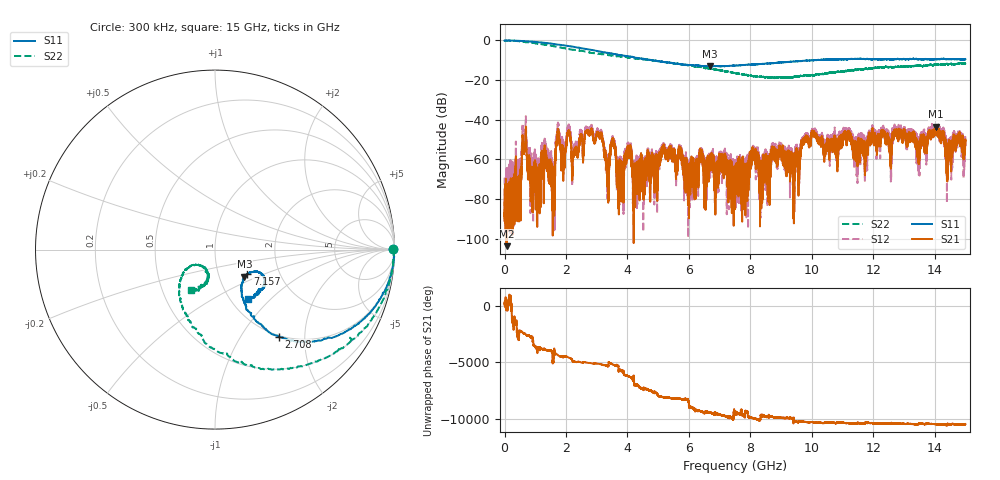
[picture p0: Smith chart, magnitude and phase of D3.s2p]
!Agilent Technologies,N5230C,SG49000117,A.08.50.07
!Agilent N5230C: A.08.50.07
!Date: Monday, December 11, 2023 23:22:14
!Correction: S11(Full 2 Port(1,2))
!S21(Full 2 Port(1,2))
!S12(Full 2 Port(1,2))
!S22(Full 2 Port(1,2))
!S2P File: Measurements: S11, S21, S12, S22:
# Hz S  RI  R 50
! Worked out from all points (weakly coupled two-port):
!   20001 points, 300 kHz to 15 GHz, reference 50 ohm
!   highest |S21| = -43.41 dB at 14.05 GHz (marker M1); lowest = -103.8 dB at 63.3 MHz (marker M2)
!   lowest |S11| = -13.1 dB at 6.685 GHz (marker M3), VSWR 1.57, Z = 65.9 - j20.8 ohm
!   |S11| at or under -10 dB: 4.833 GHz to 9.996 GHz (5.163 GHz wide, 69.6 % of centre); 10.02676 GHz to 10.02953 GHz (2.768 MHz wide, 0.0276 % of centre); 10.03411 GHz to 10.04288 GHz (8.775 MHz wide, 0.0874 % of centre) (the widest 3 of 24)
!   |S22| runs from -19.0 to 0.0 dB; largest |S21 - S12| = 0.0061
!   S11 on the Smith chart (normalised r, x): 300 kHz: open; 2.708 GHz: 0.98, -1.49; 7.157 GHz: 1.38, -0.39; 15 GHz: 1.20, -0.76
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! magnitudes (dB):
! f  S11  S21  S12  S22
! 300 kHz  -0.1  -75.4  -69.2  -0.1
! 63.3 MHz  0.0  -103.8  -69.0  0.0
! 457 MHz  -0.2  -75.7  -73.2  -0.3
! 642.3 MHz  -0.3  -54.6  -51.3  -0.6
! 1.098 GHz  -0.9  -75.6  -61.1  -1.6
! 1.266 GHz  -1.1  -66.3  -59.0  -2.0
! 1.575 GHz  -1.7  -68.2  -74.0  -2.8
! 1.738 GHz  -2.1  -44.9  -42.1  -3.4
! 2.501 GHz  -3.9  -47.8  -46.1  -5.2
! 2.708 GHz  -4.4  -45.8  -44.1  -5.9
! 3.349 GHz  -6.2  -67.2  -60.1  -7.3
! 3.517 GHz  -6.6  -49.6  -49.1  -7.6
! 3.764 GHz  -7.3  -63.0  -61.0  -8.1
! 4.043 GHz  -8.0  -56.4  -54.9  -8.6
! 5 GHz  -10.4  -61.9  -58.6  -10.5
! 6.685 GHz  -13.1  -61.3  -59.9  -14.1
! 7.157 GHz  -13.0  -59.8  -59.7  -15.5
! 7.5 GHz  -12.6  -77.8  -63.3  -16.4
! 10 GHz  -10.0  -46.2  -44.9  -17.5
! 12.5 GHz  -9.4  -52.2  -48.9  -13.3
! 14.05 GHz  -9.4  -43.4  -43.1  -12.1
! 15 GHz  -9.4  -50.5  -50.4  -11.6
